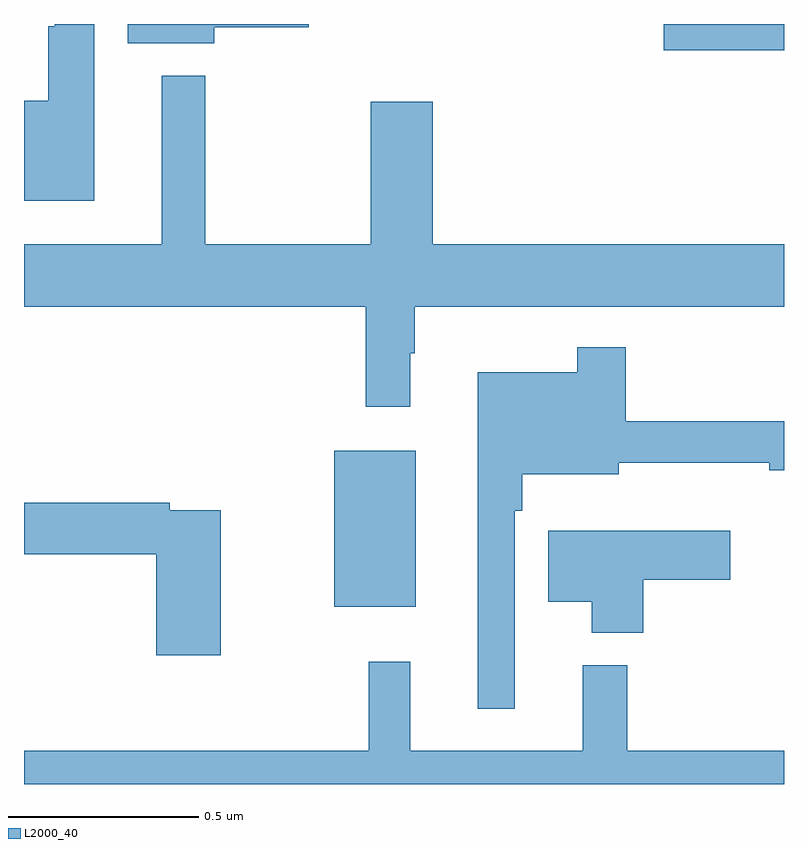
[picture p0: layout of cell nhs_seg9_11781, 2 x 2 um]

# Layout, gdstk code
import gdstk
lib = gdstk.Library(unit=1e-6, precision=1e-09)
def R(c, l, rs):  # rectangles x0, y0, x1, y1
    for r in rs: c.add(gdstk.rectangle(r[:2], r[2:], *l))
def P(c, l, *ps):  # polygons
    for p in ps: c.add(gdstk.Polygon(p, *l))
L2000_40 = (2000, 40)

nhs_seg9_11781 = lib.new_cell('nhs_seg9_11781')
R(nhs_seg9_11781, L2000_40, [(260.816,1192.967,261.031,1193.377), (261.684,1194.431,262,1194.5)])
P(nhs_seg9_11781, L2000_40, [(260.185,1194.5),(260.081,1194.5),(260.081,1194.494),(260.064,1194.494),(260.064,1194.298),(260,1194.298),(260,1194.035),(260.185,1194.035)],
  [(260.5,1194.491),(260.749,1194.491),(260.749,1194.5),(260.273,1194.5),(260.273,1194.449),(260.5,1194.449)],
  [(261.016,1193.633),(261.028,1193.633),(261.028,1193.756),(262,1193.756),(262,1193.92),(261.076,1193.92),(261.076,1194.295),(260.912,1194.295),(260.912,1193.92),(260.477,1193.92),(260.477,1194.364),(260.363,1194.364),(260.363,1193.92),(260,1193.92),(260,1193.756),(260.899,1193.756),(260.899,1193.493),(261.016,1193.493)],
  [(261.291,1193.219),(261.311,1193.219),(261.311,1193.315),(261.565,1193.315),(261.565,1193.345),(261.961,1193.345),(261.961,1193.326),(262,1193.326),(262,1193.455),(261.584,1193.455),(261.584,1193.65),(261.456,1193.65),(261.456,1193.584),(261.194,1193.584),(261.194,1192.698),(261.291,1192.698)],
  [(260.518,1193.22),(260.384,1193.22),(260.384,1193.24),(260,1193.24),(260,1193.104),(260.348,1193.104),(260.348,1192.839),(260.518,1192.839)],
  [(261.629,1193.038),(261.859,1193.038),(261.859,1193.167),(261.38,1193.167),(261.38,1192.979),(261.494,1192.979),(261.494,1192.898),(261.629,1192.898)],
  [(262,1192.588),(261.587,1192.588),(261.587,1192.813),(261.47,1192.813),(261.47,1192.588),(261.017,1192.588),(261.017,1192.822),(260.907,1192.822),(260.907,1192.588),(260,1192.588),(260,1192.5),(262,1192.5)])

lib.write_gds('nhs_seg9_11781.gds')
